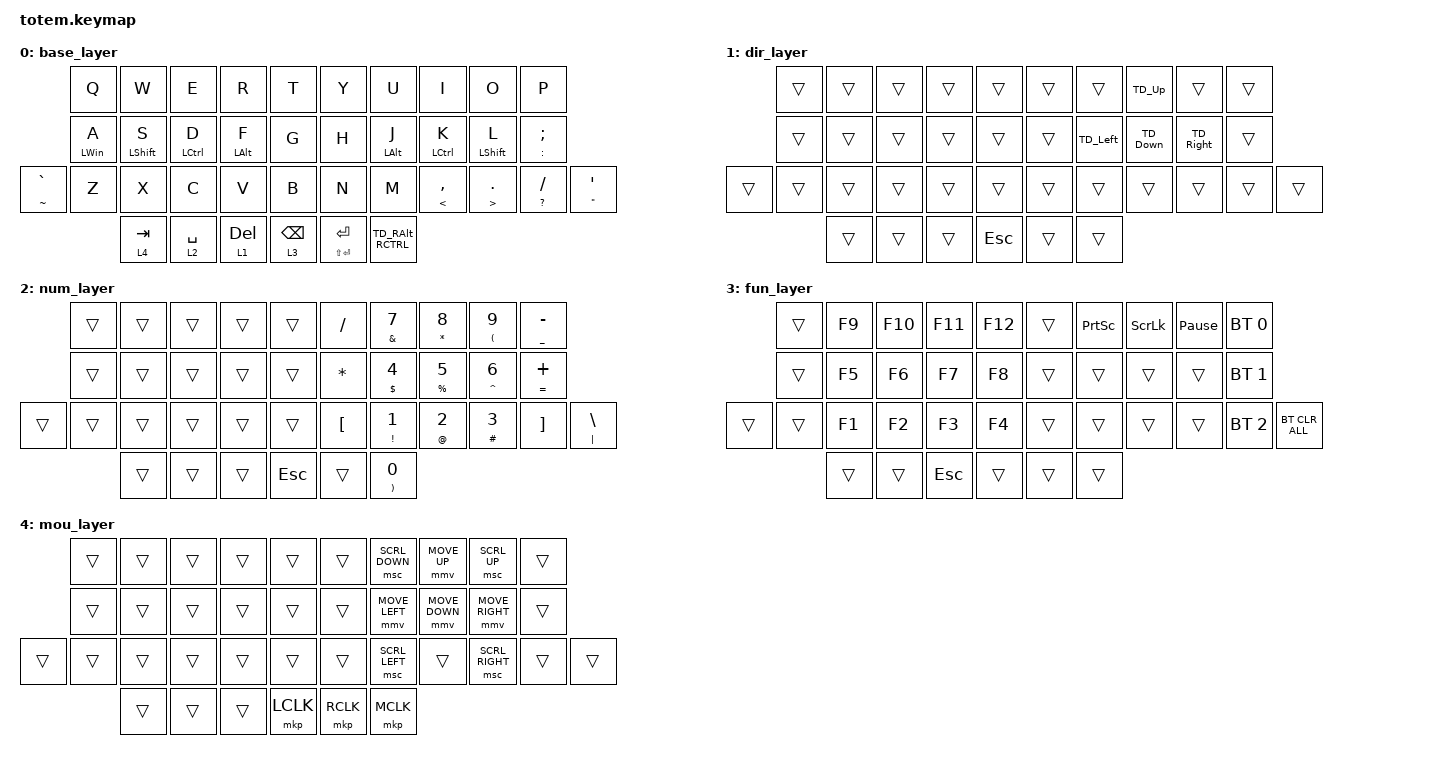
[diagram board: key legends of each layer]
//
//                                                        ▀▀▀▀▀     ▀▀▀▀▀          ▀▀█▀▀
//                                                        ▄▀▀▀▄  ▄  ▄▀▀▀▄  ▄  ▄▀▀▀▄  █  ▄▀▀▀▄
//                                                        █   █  █  █   █  █  █   █  █  █   █
//                                                         ▀▀▀   █   ▀▀▀   █   ▀▀▀   ▀   ▀▀▀
//                                                               █      ▄▄▄█▄▄▄    █   █  
//                                                               ▀      █  █  █     █▄█
//                                                             ▀▀▀▀▀    █  █  █      ▀
//                                                                      ▀  ▀  ▀
//
// ▄▄▄▄▄▄▄▄▄▄▄▄▄▄▄▄▄▄▄▄▄▄▄▄▄▄▄▄▄▄▄▄▄▄▄▄▄▄▄▄▄▄▄▄▄▄▄▄▄▄▄▄▄▄▄▄▄▄▄▄▄▄▄▄▄▄▄▄▄▄▄▄▄▄▄▄▄▄▄▄▄▄▄▄▄▄▄▄▄▄▄▄▄▄▄▄▄▄▄▄▄▄▄▄▄▄▄▄▄▄▄▄▄▄▄▄▄▄▄▄▄▄▄▄▄▄▄▄▄▄▄▄▄▄▄▄▄▄▄▄▄▄▄▄▄▄▄▄▄
       

#include <behaviors.dtsi>
#include <dt-bindings/zmk/keys.h>
#include <dt-bindings/zmk/bt.h>
#include <dt-bindings/zmk/outputs.h>
#include <dt-bindings/zmk/pointing.h>

#define BASE 0
#define DIR 1
#define NUM 2
#define FUN 3
#define MOU 4

&lt {
    tapping-term-ms = <200>;
    flavor = "balanced";
    quick-tap-ms = <150>;
};

/ {
	combos {
        compatible = "zmk,combos";

        combo_Tab {
            timeout-ms = <100>;
            require-prior-idle-ms = <125>;
            key-positions = <10 11>;
            bindings = <&kp TAB>;
            layers = <BASE>;
        };
		
        combo_cut {
            timeout-ms = <100>;
            require-prior-idle-ms = <125>;
            key-positions = <6 7>;
            bindings = <&kp LC(X)>;
            layers = <BASE>;
		};
		
        combo_copy {
            timeout-ms = <100>;
            require-prior-idle-ms = <125>;
            key-positions = <16 17>;
            bindings = <&kp LC(C)>;
            layers = <BASE>;
        };

        combo_paste {
            timeout-ms = <100>;
            require-prior-idle-ms = <125>;
            key-positions = <27 28>;
            bindings = <&kp LC(V)>;
            layers = <BASE>;
		};
		
        combo_undo {
            timeout-ms = <100>;
            require-prior-idle-ms = <125>;
            key-positions = <17 18>;
            bindings = <&kp LC(Z)>;
            layers = <BASE>;
		};
        
		combo_redo {
            timeout-ms = <100>;
            require-prior-idle-ms = <125>;
            key-positions = <7 8>;
            bindings = <&kp LC(Y)>;
            layers = <BASE>;
        };
    };
	behaviors {
        AS: auto_shift {
            compatible = "zmk,behavior-hold-tap";
            #binding-cells = <2>;
            bindings = <&kp>, <&kp>;
            tapping-term-ms = <200>;
            quick-tap-ms = <0>;
            flavor = "tap-preferred";
        };

		HRM_L: homerow_left {
			compatible = "zmk,behavior-hold-tap";
			#binding-cells = <2>;
			bindings = <&kp>, <&kp>;

			flavor = "balanced";
			tapping-term-ms = <220>;
			quick-tap-ms = <175>;
			require-prior-idle-ms = <150>;
			hold-trigger-on-release;
		};

		HRM_R: homerow_right {
			compatible = "zmk,behavior-hold-tap";
			#binding-cells = <2>;
			bindings = <&kp>, <&kp>;

			flavor = "balanced";
			tapping-term-ms = <220>;
			quick-tap-ms = <175>;
			require-prior-idle-ms = <150>;
			hold-trigger-on-release;
		};

		TD_RAlt_RCTRL: td_ralt_rctrl {
			compatible = "zmk,behavior-tap-dance";
			#binding-cells = <0>;
			bindings = <&kp RALT>, <&kp RCTRL>;
			tapping-term-ms = <180>;
		};

        TD_Right: td_right {
            compatible = "zmk,behavior-tap-dance";
            #binding-cells = <0>;
            bindings = <&kp RIGHT>, <&kp END>;
            tapping-term-ms = <180>;
        };

        TD_Left: td_left {
            compatible = "zmk,behavior-tap-dance";
            #binding-cells = <0>;
            bindings = <&kp LEFT>, <&kp HOME>;
            tapping-term-ms = <180>;
        };

        TD_Up: td_up {
            compatible = "zmk,behavior-tap-dance";
            #binding-cells = <0>;
            bindings = <&kp UP>, <&kp PAGE_UP>;
            tapping-term-ms = <180>;
        };

        TD_Down: td_down {
            compatible = "zmk,behavior-tap-dance";
            #binding-cells = <0>;
            bindings = <&kp DOWN>, <&kp PAGE_DOWN>;
            tapping-term-ms = <180>;
        };
    };    

        keymap {
                compatible = "zmk,keymap";
// ▄▄▄▄▄▄▄▄▄▄▄▄▄▄▄▄▄▄▄▄▄▄▄▄▄▄▄▄▄▄▄▄▄▄▄▄▄▄▄▄▄▄▄▄▄▄▄▄▄▄▄▄▄▄▄▄▄▄▄▄▄▄▄▄▄▄▄▄▄▄▄▄▄▄▄▄▄▄▄▄▄▄▄▄▄▄▄▄▄▄▄▄▄▄▄▄▄▄▄▄▄▄▄▄▄▄▄▄▄▄▄▄▄▄▄▄▄▄▄▄▄▄▄▄▄▄▄▄▄▄▄▄▄▄▄▄▄▄▄▄▄▄▄▄▄▄▄▄▄▄▄▄▄▄▄▄▄▄▄▄▄▄▄▄▄▄▄▄▄▄▄▄▄▄▄▄▄▄▄▄▄▄▄▄▄▄▄▄▄▄▄▄▄▄▄▄▄▄▄▄▄▄▄▄▄▄▄▄▄▄▄▄▄▄▄▄▄▄▄▄▄▄▄▄▄▄▄▄▄▄▄▄▄▄▄▄▄▄▄▄▄▄▄▄▄▄▄▄▄▄▄▄▄▄▄▄▄▄▄▄▄▄▄▄▄▄▄▄▄▄▄▄▄▄▄▄▄▄▄▄▄▄▄▄▄▄

                base_layer {
					bindings = <
													&kp Q       	&kp W       		&kp E       		&kp R       		&kp T           	&kp Y       		&kp U       		&kp I       			&kp O       			&kp P
													&HRM_L LWIN A	&HRM_L LSHIFT S		&HRM_L LCTRL  D 	&HRM_L LALT   F		&kp G           	&kp H  				&HRM_R LALT   J		&HRM_R LCTRL  K			&HRM_R LSHIFT L 		&AS COLON SEMICOLON
								&AS TILDE GRAVE		&kp Z       	&kp X       		&kp C       		&kp V       		&kp B           	&kp N       		&kp M       		&AS LESS_THAN COMMA  	&AS GREATER_THAN PERIOD	&AS QUESTION SLASH		&AS DOUBLE_QUOTES SQT
																	&lt 4 TAB		  	&lt 2 SPACE		  	&lt 1 DEL			&lt 3 BACKSPACE		&AS LS(ENTER) ENTER	&TD_RAlt_RCTRL
                        >;
                };

// ▄▄▄▄▄▄▄▄▄▄▄▄▄▄▄▄▄▄▄▄▄▄▄▄▄▄▄▄▄▄▄▄▄▄▄▄▄▄▄▄▄▄▄▄▄▄▄▄▄▄▄▄▄▄▄▄▄▄▄▄▄▄▄▄▄▄▄▄▄▄▄▄▄▄▄▄▄▄▄▄▄▄▄▄▄▄▄▄▄▄▄▄▄▄▄▄▄▄▄▄▄▄▄▄▄▄▄▄▄▄▄▄▄▄▄▄▄▄▄▄▄▄▄▄▄▄▄▄▄▄▄▄▄▄▄▄▄▄▄▄▄▄▄▄▄▄▄▄▄▄▄▄▄▄▄▄▄▄▄▄▄▄▄▄▄▄▄▄▄▄▄▄▄▄▄▄▄▄▄▄▄▄▄▄▄▄▄▄▄▄▄▄▄▄▄▄▄▄▄▄▄▄▄▄▄▄▄▄▄▄▄▄▄▄▄▄▄▄▄▄▄▄▄▄▄▄▄▄▄▄▄▄▄▄▄▄▄▄▄▄▄▄▄▄▄▄▄▄▄▄▄▄▄▄▄▄▄▄▄▄▄▄▄▄▄▄▄▄▄▄▄▄▄▄▄▄▄▄▄▄▄▄▄▄▄▄

                dir_layer {
					bindings = <
											&trans &trans &trans &trans &trans    &trans  	&trans 		&TD_Up 		&trans 		  &trans
											&trans &trans &trans &trans &trans    &trans  	&TD_Left 	&TD_Down 	&TD_Right	  &trans 
								&trans      &trans &trans &trans &trans &trans    &trans  	&trans 		&trans 		&trans 		  &trans   &trans         
																	&trans &trans &trans	&kp ESC 	&trans 		&trans
                        >;
                };

// ▄▄▄▄▄▄▄▄▄▄▄▄▄▄▄▄▄▄▄▄▄▄▄▄▄▄▄▄▄▄▄▄▄▄▄▄▄▄▄▄▄▄▄▄▄▄▄▄▄▄▄▄▄▄▄▄▄▄▄▄▄▄▄▄▄▄▄▄▄▄▄▄▄▄▄▄▄▄▄▄▄▄▄▄▄▄▄▄▄▄▄▄▄▄▄▄▄▄▄▄▄▄▄▄▄▄▄▄▄▄▄▄▄▄▄▄▄▄▄▄▄▄▄▄▄▄▄▄▄▄▄▄▄▄▄▄▄▄▄▄▄▄▄▄▄▄▄▄▄▄▄▄▄▄▄▄▄▄▄▄▄▄▄▄▄▄▄▄▄▄▄▄▄▄▄▄▄▄▄▄▄▄▄▄▄▄▄▄▄▄▄▄▄▄▄▄▄▄▄▄▄▄▄▄▄▄▄▄▄▄▄▄▄▄▄▄▄▄▄▄▄▄▄▄▄▄▄▄▄▄▄▄▄▄▄▄▄▄▄▄▄▄▄▄▄▄▄▄▄▄▄▄▄▄▄▄▄▄▄▄▄▄▄▄▄▄▄▄▄▄▄▄▄▄▄▄▄▄▄▄▄▄▄▄▄▄

                num_layer {
					bindings = <
											&trans 	&trans 	&trans 	&trans &trans    	&kp SLASH 					&AS AMPERSAND NUMBER_7 	 	&AS ASTERISK NUMBER_8		&AS LEFT_PARENTHESIS N9 &AS UNDERSCORE MINUS	
											&trans 	&trans 	&trans 	&trans &trans    	&kp ASTERISK 				&AS DOLLAR NUMBER_4 	 	&AS PERCENT N5 				&AS CARET NUMBER_6		&AS EQUAL PLUS 			
								&trans 		&trans 	&trans 	&trans 	&trans &trans    	&kp LBKT					&AS EXCLAMATION NUMBER_1	&AS AT_SIGN NUMBER_2 		&AS HASH NUMBER_3		&kp RBKT					&AS PIPE BACKSLASH
															&trans 	&trans &trans	 	&kp ESC 					&trans 						&AS RIGHT_PARENTHESIS N0
                        >;
                };

// ▄▄▄▄▄▄▄▄▄▄▄▄▄▄▄▄▄▄▄▄▄▄▄▄▄▄▄▄▄▄▄▄▄▄▄▄▄▄▄▄▄▄▄▄▄▄▄▄▄▄▄▄▄▄▄▄▄▄▄▄▄▄▄▄▄▄▄▄▄▄▄▄▄▄▄▄▄▄▄▄▄▄▄▄▄▄▄▄▄▄▄▄▄▄▄▄▄▄▄▄▄▄▄▄▄▄▄▄▄▄▄▄▄▄▄▄▄▄▄▄▄▄▄▄▄▄▄▄▄▄▄▄▄▄▄▄▄▄▄▄▄▄▄▄▄▄▄▄▄▄▄▄▄▄▄▄▄▄▄▄▄▄▄▄▄▄▄▄▄▄▄▄▄▄▄▄▄▄▄▄▄▄▄▄▄▄▄▄▄▄▄▄▄▄▄▄▄▄▄▄▄▄▄▄▄▄▄▄▄▄▄▄▄▄▄▄▄▄▄▄▄▄▄▄▄▄▄▄▄▄▄▄▄▄▄▄▄▄▄▄▄▄▄▄▄▄▄▄▄▄▄▄▄▄▄▄▄▄▄▄▄▄▄▄▄▄▄▄▄▄▄▄▄▄▄▄▄▄▄▄▄▄▄▄▄▄

				fun_layer {
					bindings = <
											&trans 	&kp F9	&kp F10	&kp F11	&kp F12  &trans &kp PRINTSCREEN	&kp SCROLLLOCK	&kp PAUSE_BREAK &bt BT_SEL 0
											&trans 	&kp F5	&kp F6	&kp F7	&kp F8   &trans &trans 			&trans 			&trans 			&bt BT_SEL 1
								&trans		&trans 	&kp F1	&kp F2 	&kp F3 	&kp F4   &trans &trans 			&trans 			&trans 			&bt BT_SEL 2	&bt BT_CLR_ALL
															&trans 	&trans 	&kp ESC	 &trans	&trans 			&trans 
  						  >;
				};
// ▄▄▄▄▄▄▄▄▄▄▄▄▄▄▄▄▄▄▄▄▄▄▄▄▄▄▄▄▄▄▄▄▄▄▄▄▄▄▄▄▄▄▄▄▄▄▄▄▄▄▄▄▄▄▄▄▄▄▄▄▄▄▄▄▄▄▄▄▄▄▄▄▄▄▄▄▄▄▄▄▄▄▄▄▄▄▄▄▄▄▄▄▄▄▄▄▄▄▄▄▄▄▄▄▄▄▄▄▄▄▄▄▄▄▄▄▄▄▄▄▄▄▄▄▄▄▄▄▄▄▄▄▄▄▄▄▄▄▄▄▄▄▄▄▄▄▄▄▄▄▄▄▄▄▄▄▄▄▄▄▄▄▄▄▄▄▄▄▄▄▄▄▄▄▄▄▄▄▄▄▄▄▄▄▄▄▄▄▄▄▄▄▄▄▄▄▄▄▄▄▄▄▄▄▄▄▄▄▄▄▄▄▄▄▄▄▄▄▄▄▄▄▄▄▄▄▄▄▄▄▄▄▄▄▄▄▄▄▄▄▄▄▄▄▄▄▄▄▄▄▄▄▄▄▄▄▄▄▄▄▄▄▄▄▄▄▄▄▄▄▄▄▄▄▄▄▄▄▄▄▄▄▄▄▄▄

                mou_layer {
					bindings = <
											&trans &trans &trans &trans &trans    &trans  	&msc SCRL_DOWN	&mmv MOVE_UP 		&msc SCRL_UP  		&trans
											&trans &trans &trans &trans &trans    &trans  	&mmv MOVE_LEFT 	&mmv MOVE_DOWN	 	&mmv MOVE_RIGHT	  	&trans 
								&trans      &trans &trans &trans &trans &trans    &trans  	&msc SCRL_LEFT	&trans		 		&msc SCRL_RIGHT		&trans   	&trans         
																	&trans &trans &trans	&mkp LCLK 		&mkp RCLK		 	&mkp MCLK
                        >;
                };
        };
};
                
